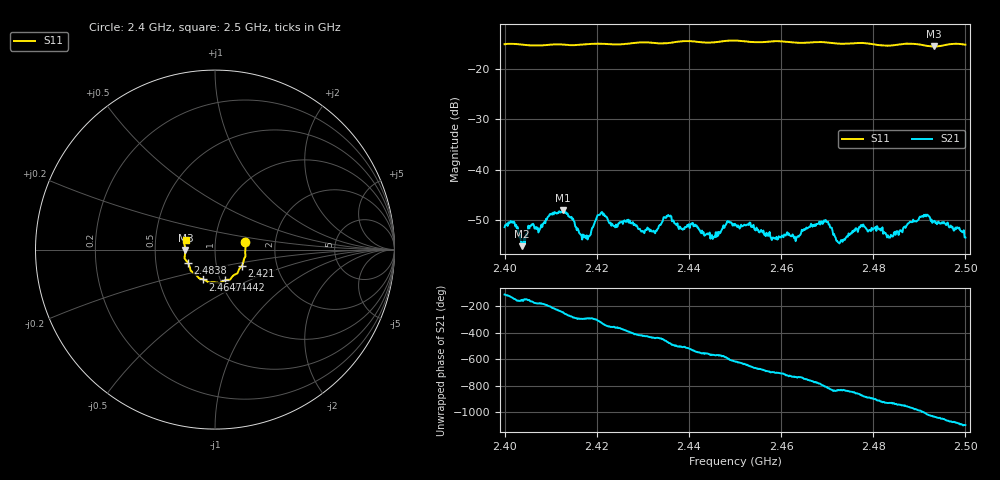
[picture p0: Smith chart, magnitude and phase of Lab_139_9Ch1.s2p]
# Hz S RI R 50
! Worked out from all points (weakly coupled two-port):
!   601 points, 2.4 GHz to 2.5 GHz, reference 50 ohm
!   highest |S21| = -47.98 dB at 2.4127 GHz (marker M1); lowest = -55.1 dB at 2.4038 GHz (marker M2)
!   lowest |S11| = -15.6 dB at 2.4932 GHz (marker M3), VSWR 1.40, Z = 35.8 - j0.114 ohm
!   |S11| at or under -10 dB: start of sweep to end of sweep
!   S12 and S22 are empty: the file has one direction only
!   S11 on the Smith chart (normalised r, x): 2.4 GHz: 1.40, +0.12; 2.421 GHz: 1.33, -0.24; 2.4442 GHz: 1.05, -0.37; 2.4647 GHz: 0.83, -0.28; 2.4838 GHz: 0.73, -0.11; 2.5 GHz: 0.71, +0.08
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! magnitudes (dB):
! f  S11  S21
! 2.4 GHz  -15.2  -51.3
! 2.402 GHz  -15.1  -50.2
! 2.4038 GHz  -15.3  -55.1
! 2.4057 GHz  -15.4  -51.1
! 2.4127 GHz  -15.3  -48.0
! 2.4167 GHz  -15.3  -52.9
! 2.421 GHz  -15.1  -48.4
! 2.4333 GHz  -15.0  -51.6
! 2.4357 GHz  -15.0  -49.1
! 2.4442 GHz  -14.9  -52.8
! 2.45 GHz  -14.5  -50.7
! 2.4583 GHz  -14.6  -53.4
! 2.4647 GHz  -14.9  -52.1
! 2.4667 GHz  -14.8  -51.0
! 2.4698 GHz  -14.8  -50.3
! 2.4725 GHz  -15.1  -54.4
! 2.4775 GHz  -14.9  -50.9
! 2.4833 GHz  -15.5  -53.4
! 2.4838 GHz  -15.5  -52.9
! 2.4905 GHz  -15.3  -49.2
! 2.4932 GHz  -15.6  -50.1
! 2.5 GHz  -15.3  -53.4
